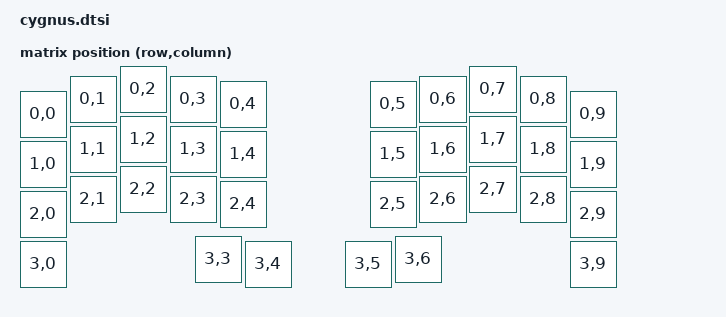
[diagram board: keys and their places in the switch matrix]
#include <dt-bindings/zmk/matrix_transform.h>
#include <physical_layouts.dtsi>

/ {
    chosen {
        zmk,kscan = &kscan0;
        zmk,physical-layout = &physical_layout0;
    };

    default_transform: keymap_transform_0 {
        compatible = "zmk,matrix-transform";
        columns = <10>;
        rows = <4>;
        map = <
            RC(0,0) RC(0,1) RC(0,2) RC(0,3) RC(0,4)     RC(0,5) RC(0,6) RC(0,7) RC(0,8) RC(0,9)
            RC(1,0) RC(1,1) RC(1,2) RC(1,3) RC(1,4)     RC(1,5) RC(1,6) RC(1,7) RC(1,8) RC(1,9)
            RC(2,0) RC(2,1) RC(2,2) RC(2,3) RC(2,4)     RC(2,5) RC(2,6) RC(2,7) RC(2,8) RC(2,9)
            RC(3,0)                 RC(3,3) RC(3,4)     RC(3,5) RC(3,6)                 RC(3,9)
        >;
    };

    physical_layout0: physical_layout_0 {
        compatible = "zmk,physical-layout";
        display-name = "Default Layout";
        transform = <&default_transform>;
        kscan = <&kscan0>;

        /* Format: <&key_physical_attrs width height x y rotation rx ry> (1u = 100) */
        keys
            /* Row 0 */
            = <&key_physical_attrs 100 100    0  50 0 0 0>
            , <&key_physical_attrs 100 100  100  20 0 0 0>
            , <&key_physical_attrs 100 100  200   0 0 0 0>
            , <&key_physical_attrs 100 100  300  20 0 0 0>
            , <&key_physical_attrs 100 100  400  30 0 0 0>
            , <&key_physical_attrs 100 100  700  30 0 0 0>
            , <&key_physical_attrs 100 100  800  20 0 0 0>
            , <&key_physical_attrs 100 100  900   0 0 0 0>
            , <&key_physical_attrs 100 100 1000  20 0 0 0>
            , <&key_physical_attrs 100 100 1100  50 0 0 0>

            /* Row 1 */
            , <&key_physical_attrs 100 100    0 150 0 0 0>
            , <&key_physical_attrs 100 100  100 120 0 0 0>
            , <&key_physical_attrs 100 100  200 100 0 0 0>
            , <&key_physical_attrs 100 100  300 120 0 0 0>
            , <&key_physical_attrs 100 100  400 130 0 0 0>
            , <&key_physical_attrs 100 100  700 130 0 0 0>
            , <&key_physical_attrs 100 100  800 120 0 0 0>
            , <&key_physical_attrs 100 100  900 100 0 0 0>
            , <&key_physical_attrs 100 100 1000 120 0 0 0>
            , <&key_physical_attrs 100 100 1100 150 0 0 0>

            /* Row 2 */
            , <&key_physical_attrs 100 100    0 250 0 0 0>
            , <&key_physical_attrs 100 100  100 220 0 0 0>
            , <&key_physical_attrs 100 100  200 200 0 0 0>
            , <&key_physical_attrs 100 100  300 220 0 0 0>
            , <&key_physical_attrs 100 100  400 230 0 0 0>
            , <&key_physical_attrs 100 100  700 230 0 0 0>
            , <&key_physical_attrs 100 100  800 220 0 0 0>
            , <&key_physical_attrs 100 100  900 200 0 0 0>
            , <&key_physical_attrs 100 100 1000 220 0 0 0>
            , <&key_physical_attrs 100 100 1100 250 0 0 0>

            /* Row 3 (Outer Pinkies + 2 Inner Thumbs per side) */
            , <&key_physical_attrs 100 100    0 350 0 0 0>
            , <&key_physical_attrs 100 100  350 340 0 0 0>
            , <&key_physical_attrs 100 100  450 350 0 0 0>
            , <&key_physical_attrs 100 100  650 350 0 0 0>
            , <&key_physical_attrs 100 100  750 340 0 0 0>
            , <&key_physical_attrs 100 100 1100 350 0 0 0>
            ;
    };
};
